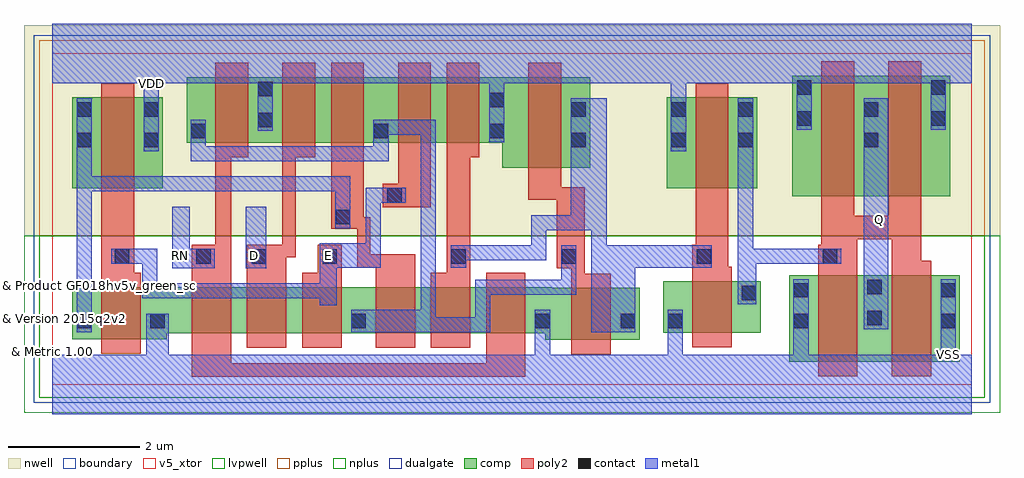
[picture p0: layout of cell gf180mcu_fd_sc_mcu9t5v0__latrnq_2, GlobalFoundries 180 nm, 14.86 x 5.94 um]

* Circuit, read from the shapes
.subckt gf180mcu_fd_sc_mcu9t5v0__latrnq_2 D E Q RN VDD VSS
XM1 VSS E n1 VSUBS nfet_05v0 w=0.79u l=0.6u
XM2 n2 RN VSS VSUBS nfet_05v0 w=0.7u l=0.6u
XM3 n3 D n2 VSUBS nfet_05v0 w=0.7u l=0.6u
XM4 n4 E n3 VSUBS nfet_05v0 w=0.7u l=0.6u
XM5 n5 n1 n4 VSUBS nfet_05v0 w=0.7u l=0.6u
XM6 n6 n7 n5 VSUBS nfet_05v0 w=0.7u l=0.6u
XM7 VSS RN n6 VSUBS nfet_05v0 w=0.7u l=0.6u
XM8 n7 n4 VSS VSUBS nfet_05v0 w=0.79u l=0.6u
XM9 n8 n7 VSS VSUBS nfet_05v0 w=0.79u l=0.6u
XM10 Q n8 VSS VSUBS nfet_05v0 w=1.32u l=0.6u m=2
XM11 VDD E n1 n9 pfet_05v0 w=1.38u l=0.5u
XM12 VDD RN n4 n9 pfet_05v0 w=1u l=0.5u
XM13 n10 D VDD n9 pfet_05v0 w=1u l=0.5u
XM14 n4 n1 n10 n9 pfet_05v0 w=1u l=0.5u
XM15 n11 E n4 n9 pfet_05v0 w=1u l=0.5u
XM16 VDD n7 n11 n9 pfet_05v0 w=1u l=0.5u
XM17 n7 n4 VDD n9 pfet_05v0 w=1.38u l=0.5u
XM18 n8 n7 VDD n9 pfet_05v0 w=1.38u l=0.5u
XM19 Q n8 VDD n9 pfet_05v0 w=1.83u l=0.5u m=2
.ends

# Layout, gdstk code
import gdstk
lib = gdstk.Library(unit=1e-6, precision=1e-09)
def R(c, l, rs):  # rectangles x0, y0, x1, y1
    for r in rs: c.add(gdstk.rectangle(r[:2], r[2:], *l))
def P(c, l, *ps):  # polygons
    for p in ps: c.add(gdstk.Polygon(p, *l))
boundary = (0, 0)
nwell = (21, 0)
comp = (22, 0)
poly2 = (30, 0)
pplus = (31, 0)
nplus = (32, 0)
contact = (33, 0)
metal1 = (34, 0)
dualgate = (55, 0)
v5_xtor = (112, 1)
lvpwell = (204, 0)

gf180mcu_fd_sc_mcu9t5v0_ = lib.new_cell('gf180mcu_fd_sc_mcu9t5v0__latrnq_2')
R(gf180mcu_fd_sc_mcu9t5v0_, boundary, [(0,0,14,5.04)])
R(gf180mcu_fd_sc_mcu9t5v0_, nwell, [(-0.43,2.265,14.43,5.47)])
R(gf180mcu_fd_sc_mcu9t5v0_, comp, [(11.22,0.345,13.82,1.665), (9.305,0.785,10.785,1.575), (11.27,2.87,13.67,4.7), (0.305,2.99,1.685,4.37), (9.355,2.99,10.735,4.37)])
P(gf180mcu_fd_sc_mcu9t5v0_, comp, [(6.85,3.3),(6.85,3.68),(2.045,3.68),(2.045,4.68),(8.19,4.68),(8.19,3.3)],
  [(7.505,0.68),(7.505,0.78),(1.745,0.78),(1.745,0.69),(0.305,0.69),(0.305,1.48),(7.605,1.48),(7.605,1.47),(8.945,1.47),(8.945,0.68)])
P(gf180mcu_fd_sc_mcu9t5v0_, poly2, [(0.745,0.47),(0.745,4.59),(1.245,4.59),(1.245,1.7),(1.345,1.7),(1.345,0.47)],
  [(2.965,0.56),(2.965,2.13),(3.505,2.13),(3.505,4.9),(4.005,4.9),(4.005,3.46),(3.705,3.46),(3.705,1.935),(3.565,1.935),(3.565,0.56)],
  [(3.805,0.56),(3.805,1.7),(4.045,1.7),(4.045,2.13),(4.405,2.13),(4.405,0.56)],
  [(4.925,0.56),(4.925,1.78),(4.645,1.78),(4.645,2.37),(4.245,2.37),(4.245,4.9),(4.745,4.9),(4.745,2.545),(4.845,2.545),(4.845,1.98),(5.525,1.98),(5.525,0.56)],
  [(5.03,2.7),(5.03,3.06),(5.265,3.06),(5.265,4.9),(5.765,4.9),(5.765,2.7)],
  [(5.765,0.56),(5.765,1.7),(6.005,1.7),(6.005,4.9),(6.505,4.9),(6.505,3.46),(6.365,3.46),(6.365,0.56)],
  [(2.125,0.12),(2.125,2.13),(2.485,2.13),(2.485,4.9),(2.985,4.9),(2.985,3.46),(2.725,3.46),(2.725,0.32),(6.605,0.32),(6.605,1.7),(7.205,1.7),(7.205,0.12)],
  [(7.905,0.46),(7.905,1.77),(7.685,1.77),(7.685,2.81),(7.25,2.81),(7.25,4.9),(7.75,4.9),(7.75,3),(8.105,3),(8.105,1.69),(8.505,1.69),(8.505,0.46)],
  [(9.745,0.565),(9.745,2.13),(9.795,2.13),(9.795,4.59),(10.295,4.59),(10.295,1.795),(10.345,1.795),(10.345,0.565)],
  [(11.66,0.125),(11.66,2.13),(11.71,2.13),(11.71,4.92),(12.21,4.92),(12.21,2.57),(12.73,2.57),(12.73,4.92),(13.23,4.92),(13.23,1.885),(13.38,1.885),(13.38,0.125),(12.78,0.125),(12.78,2.21),(12.26,2.21),(12.26,0.125)])
R(gf180mcu_fd_sc_mcu9t5v0_, pplus, [(-0.2,2.265,14.2,5.24)])
R(gf180mcu_fd_sc_mcu9t5v0_, nplus, [(-0.2,-0.2,14.2,2.265)])
R(gf180mcu_fd_sc_mcu9t5v0_, contact, [(0.375,0.855,0.595,1.075), (1.495,0.855,1.715,1.075), (4.555,0.855,4.775,1.075), (7.355,0.855,7.575,1.075), (8.655,0.855,8.875,1.075), (9.375,0.855,9.595,1.075), (11.29,0.855,11.51,1.075), (13.53,0.855,13.75,1.075), (12.41,0.905,12.63,1.125), (10.495,1.285,10.715,1.505), (11.29,1.325,11.51,1.545), (13.53,1.325,13.75,1.545), (12.41,1.375,12.63,1.595), (0.955,1.84,1.175,2.06), (2.195,1.84,2.415,2.06), (3.035,1.84,3.255,2.06), (4.115,1.84,4.335,2.06), (6.075,1.84,6.295,2.06), (7.755,1.84,7.975,2.06), (9.815,1.84,10.035,2.06), (11.73,1.84,11.95,2.06), (4.315,2.44,4.535,2.66), (5.1,2.77,5.32,2.99), (0.375,3.61,0.595,3.83), (1.395,3.61,1.615,3.83), (7.9,3.61,8.12,3.83), (9.425,3.61,9.645,3.83), (10.445,3.61,10.665,3.83), (12.36,3.61,12.58,3.83), (2.115,3.75,2.335,3.97), (4.895,3.75,5.115,3.97), (6.655,3.75,6.875,3.97), (3.135,3.92,3.355,4.14), (11.34,3.94,11.56,4.16), (13.38,3.94,13.6,4.16), (0.375,4.08,0.595,4.3), (1.395,4.08,1.615,4.3), (7.9,4.08,8.12,4.3), (9.425,4.08,9.645,4.3), (10.445,4.08,10.665,4.3), (12.36,4.08,12.58,4.3), (6.655,4.22,6.875,4.44), (3.135,4.39,3.355,4.61), (11.34,4.41,11.56,4.63), (13.38,4.41,13.6,4.63)])
R(gf180mcu_fd_sc_mcu9t5v0_, metal1, [(12.355,0.845,12.73,4.36), (2.95,1.77,3.26,2.71)])
P(gf180mcu_fd_sc_mcu9t5v0_, metal1, [(1.83,1.77),(1.83,2.71),(2.09,2.71),(2.09,2.065),(2.475,2.065),(2.475,1.77)],
  [(0.37,0.795),(0.37,4.36),(0.6,4.36),(0.6,3.17),(4.54,3.17),(4.54,2.38),(4.31,2.38),(4.31,2.94),(0.6,2.94),(0.6,0.795)],
  [(4.07,1.21),(4.07,1.31),(1.37,1.31),(1.37,1.835),(0.895,1.835),(0.895,2.065),(1.6,2.065),(1.6,1.54),(4.07,1.54),(4.07,2.15),(4.77,2.15),(4.77,2.995),(5.38,2.995),(5.38,2.765),(5,2.765),(5,1.78),(4.33,1.78),(4.33,1.21)],
  [(4.55,0.795),(4.55,1.135),(5.61,1.135),(5.61,3.8),(5.12,3.8),(5.12,3.4),(2.11,3.4),(2.11,4.03),(2.34,4.03),(2.34,3.63),(4.89,3.63),(4.89,4.03),(5.84,4.03),(5.84,1.025),(6.44,1.025),(6.44,1.595),(7.75,1.595),(7.75,2.12),(7.98,2.12),(7.98,1.365),(6.67,1.365),(6.67,0.795)],
  [(8.21,0.795),(8.21,2.35),(7.52,2.35),(7.52,1.89),(6.3,1.89),(6.3,1.78),(6.07,1.78),(6.07,2.12),(7.29,2.12),(7.29,2.58),(7.895,2.58),(7.895,4.36),(8.44,4.36),(8.44,2.12),(10.04,2.12),(10.04,1.78),(8.88,1.78),(8.88,0.795)],
  [(10.44,1.225),(10.44,4.36),(10.67,4.36),(10.67,2.065),(12.01,2.065),(12.01,1.835),(10.72,1.835),(10.72,1.225)],
  [(0,-0.45),(0,0.45),(1.435,0.45),(1.435,1.08),(1.775,1.08),(1.775,0.45),(7.35,0.45),(7.35,1.135),(7.58,1.135),(7.58,0.45),(9.37,0.45),(9.37,1.135),(9.6,1.135),(9.6,0.45),(11.285,0.45),(11.285,1.605),(11.515,1.605),(11.515,0.45),(13.525,0.45),(13.525,1.605),(13.755,1.605),(13.755,0.45),(14,0.45),(14,-0.45)],
  [(1.39,3.55),(1.39,4.59),(0,4.59),(0,5.49),(14,5.49),(14,4.59),(13.605,4.59),(13.605,3.88),(13.375,3.88),(13.375,4.59),(11.565,4.59),(11.565,3.88),(11.335,3.88),(11.335,4.59),(9.65,4.59),(9.65,3.55),(9.42,3.55),(9.42,4.59),(6.88,4.59),(6.88,3.69),(6.65,3.69),(6.65,4.59),(3.36,4.59),(3.36,3.86),(3.13,3.86),(3.13,4.59),(1.62,4.59),(1.62,3.55)])
R(gf180mcu_fd_sc_mcu9t5v0_, dualgate, [(-0.28,-0.28,14.28,5.32)])
R(gf180mcu_fd_sc_mcu9t5v0_, v5_xtor, [(0,0,14,5.04)])
R(gf180mcu_fd_sc_mcu9t5v0_, lvpwell, [(-0.43,-0.43,14.43,2.265)])
gf180mcu_fd_sc_mcu9t5v0_.add(gdstk.Label('D', (3.08,1.96), layer=34, texttype=10))
gf180mcu_fd_sc_mcu9t5v0_.add(gdstk.Label('E', (4.2,1.96), layer=34, texttype=10))
gf180mcu_fd_sc_mcu9t5v0_.add(gdstk.Label('Q', (12.6,2.52), layer=34, texttype=10))
gf180mcu_fd_sc_mcu9t5v0_.add(gdstk.Label('RN', (1.96,1.96), layer=34, texttype=10))
gf180mcu_fd_sc_mcu9t5v0_.add(gdstk.Label('VDD', (1.505,4.59), layer=34, texttype=10))
gf180mcu_fd_sc_mcu9t5v0_.add(gdstk.Label('VSS', (13.64,0.45), layer=34, texttype=10))
gf180mcu_fd_sc_mcu9t5v0_.add(gdstk.Label('& Vendor GLOBALFOUNDRIES', (0,2), layer=63, texttype=63))
gf180mcu_fd_sc_mcu9t5v0_.add(gdstk.Label('& Product GF018hv5v_green_sc9', (0,1.5), layer=63, texttype=63))
gf180mcu_fd_sc_mcu9t5v0_.add(gdstk.Label('& Version 2015q2v2', (0,1), layer=63, texttype=63))
gf180mcu_fd_sc_mcu9t5v0_.add(gdstk.Label('& Metric 1.00', (0,0.5), layer=63, texttype=63))

lib.write_gds('gf180mcu_fd_sc_mcu9t5v0__latrnq_2.gds')
